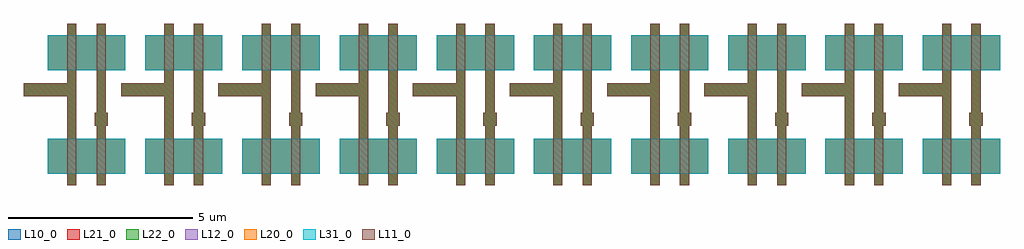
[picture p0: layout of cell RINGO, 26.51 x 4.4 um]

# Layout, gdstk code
import gdstk
lib = gdstk.Library(unit=1e-6, precision=1e-09)
def R(c, l, rs):  # rectangles x0, y0, x1, y1
    for r in rs: c.add(gdstk.rectangle(r[:2], r[2:], *l))
def A(c, l, x, y, w, h, nx, ny, dx, dy):  # array of equal rectangles
    R(c, l, [(x+i*dx, y+j*dy, x+i*dx+w, y+j*dy+h) for i in range(nx) for j in range(ny)])
L10_0 = (10, 0)
L11_0 = (11, 0)
L12_0 = (12, 0)
L20_0 = (20, 0)
L21_0 = (21, 0)
L22_0 = (22, 0)
L31_0 = (31, 0)

ringo = lib.new_cell('RINGO')
A(ringo, L10_0, 0.22, 0.82, 0.36, 0.36, 10, 1, 2.64, 0)
A(ringo, L10_0, -1.7, 1.62, 1.3, 0.36, 10, 1, 2.64, 0)
R(ringo, L10_0, [(-0.525,-0.8,-0.275,0.8), (0.275,-0.8,0.525,0.8), (2.115,-0.8,2.365,0.8), (2.915,-0.8,3.165,0.8), (4.755,-0.8,5.005,0.8), (5.555,-0.8,5.805,0.8), (7.395,-0.8,7.645,0.8), (8.195,-0.8,8.445,0.8), (10.035,-0.8,10.285,0.8), (10.835,-0.8,11.085,0.8), (12.675,-0.8,12.925,0.8), (13.475,-0.8,13.725,0.8), (15.315,-0.8,15.565,0.8), (16.115,-0.8,16.365,0.8), (17.955,-0.8,18.205,0.8), (18.755,-0.8,19.005,0.8), (20.595,-0.8,20.845,0.8), (21.395,-0.8,21.645,0.8), (23.235,-0.8,23.485,0.8), (24.035,-0.8,24.285,0.8), (-1.05,-0.475,0.25,0.475), (-0.25,-0.475,1.05,0.475), (1.59,-0.475,2.89,0.475), (2.39,-0.475,3.69,0.475), (4.23,-0.475,5.53,0.475), (5.03,-0.475,6.33,0.475), (6.87,-0.475,8.17,0.475), (7.67,-0.475,8.97,0.475), (9.51,-0.475,10.81,0.475), (10.31,-0.475,11.61,0.475), (12.15,-0.475,13.45,0.475), (12.95,-0.475,14.25,0.475), (14.79,-0.475,16.09,0.475), (15.59,-0.475,16.89,0.475), (17.43,-0.475,18.73,0.475), (18.23,-0.475,19.53,0.475), (20.07,-0.475,21.37,0.475), (20.87,-0.475,22.17,0.475), (22.71,-0.475,24.01,0.475), (23.51,-0.475,24.81,0.475), (-0.525,-0.25,-0.275,2.25), (0.275,-0.25,0.525,2.25), (2.115,-0.25,2.365,2.25), (2.915,-0.25,3.165,2.25), (4.755,-0.25,5.005,2.25), (5.555,-0.25,5.805,2.25), (7.395,-0.25,7.645,2.25), (8.195,-0.25,8.445,2.25), (10.035,-0.25,10.285,2.25), (10.835,-0.25,11.085,2.25), (12.675,-0.25,12.925,2.25), (13.475,-0.25,13.725,2.25), (15.315,-0.25,15.565,2.25), (16.115,-0.25,16.365,2.25), (17.955,-0.25,18.205,2.25), (18.755,-0.25,19.005,2.25), (20.595,-0.25,20.845,2.25), (21.395,-0.25,21.645,2.25), (23.235,-0.25,23.485,2.25), (24.035,-0.25,24.285,2.25), (-0.525,2,-0.275,3.6), (0.275,2,0.525,3.6), (2.115,2,2.365,3.6), (2.915,2,3.165,3.6), (4.755,2,5.005,3.6), (5.555,2,5.805,3.6), (7.395,2,7.645,3.6), (8.195,2,8.445,3.6), (10.035,2,10.285,3.6), (10.835,2,11.085,3.6), (12.675,2,12.925,3.6), (13.475,2,13.725,3.6), (15.315,2,15.565,3.6), (16.115,2,16.365,3.6), (17.955,2,18.205,3.6), (18.755,2,19.005,3.6), (20.595,2,20.845,3.6), (21.395,2,21.645,3.6), (23.235,2,23.485,3.6), (24.035,2,24.285,3.6), (-1.05,2.325,0.25,3.275), (-0.25,2.325,1.05,3.275), (1.59,2.325,2.89,3.275), (2.39,2.325,3.69,3.275), (4.23,2.325,5.53,3.275), (5.03,2.325,6.33,3.275), (6.87,2.325,8.17,3.275), (7.67,2.325,8.97,3.275), (9.51,2.325,10.81,3.275), (10.31,2.325,11.61,3.275), (12.15,2.325,13.45,3.275), (12.95,2.325,14.25,3.275), (14.79,2.325,16.09,3.275), (15.59,2.325,16.89,3.275), (17.43,2.325,18.73,3.275), (18.23,2.325,19.53,3.275), (20.07,2.325,21.37,3.275), (20.87,2.325,22.17,3.275), (22.71,2.325,24.01,3.275), (23.51,2.325,24.81,3.275)])
A(ringo, L11_0, 0.22, 0.82, 0.36, 0.36, 10, 1, 2.64, 0)
A(ringo, L11_0, -1.7, 1.62, 1.3, 0.36, 10, 1, 2.64, 0)
R(ringo, L11_0, [(-0.525,-0.8,-0.275,0.8), (0.275,-0.8,0.525,0.8), (2.115,-0.8,2.365,0.8), (2.915,-0.8,3.165,0.8), (4.755,-0.8,5.005,0.8), (5.555,-0.8,5.805,0.8), (7.395,-0.8,7.645,0.8), (8.195,-0.8,8.445,0.8), (10.035,-0.8,10.285,0.8), (10.835,-0.8,11.085,0.8), (12.675,-0.8,12.925,0.8), (13.475,-0.8,13.725,0.8), (15.315,-0.8,15.565,0.8), (16.115,-0.8,16.365,0.8), (17.955,-0.8,18.205,0.8), (18.755,-0.8,19.005,0.8), (20.595,-0.8,20.845,0.8), (21.395,-0.8,21.645,0.8), (23.235,-0.8,23.485,0.8), (24.035,-0.8,24.285,0.8), (-0.525,-0.25,-0.275,2.25), (0.275,-0.25,0.525,2.25), (2.115,-0.25,2.365,2.25), (2.915,-0.25,3.165,2.25), (4.755,-0.25,5.005,2.25), (5.555,-0.25,5.805,2.25), (7.395,-0.25,7.645,2.25), (8.195,-0.25,8.445,2.25), (10.035,-0.25,10.285,2.25), (10.835,-0.25,11.085,2.25), (12.675,-0.25,12.925,2.25), (13.475,-0.25,13.725,2.25), (15.315,-0.25,15.565,2.25), (16.115,-0.25,16.365,2.25), (17.955,-0.25,18.205,2.25), (18.755,-0.25,19.005,2.25), (20.595,-0.25,20.845,2.25), (21.395,-0.25,21.645,2.25), (23.235,-0.25,23.485,2.25), (24.035,-0.25,24.285,2.25), (-0.525,2,-0.275,3.6), (0.275,2,0.525,3.6), (2.115,2,2.365,3.6), (2.915,2,3.165,3.6), (4.755,2,5.005,3.6), (5.555,2,5.805,3.6), (7.395,2,7.645,3.6), (8.195,2,8.445,3.6), (10.035,2,10.285,3.6), (10.835,2,11.085,3.6), (12.675,2,12.925,3.6), (13.475,2,13.725,3.6), (15.315,2,15.565,3.6), (16.115,2,16.365,3.6), (17.955,2,18.205,3.6), (18.755,2,19.005,3.6), (20.595,2,20.845,3.6), (21.395,2,21.645,3.6), (23.235,2,23.485,3.6), (24.035,2,24.285,3.6)])
R(ringo, L12_0, [(-1.05,-0.475,0.25,0.475), (-0.25,-0.475,1.05,0.475), (1.59,-0.475,2.89,0.475), (2.39,-0.475,3.69,0.475), (4.23,-0.475,5.53,0.475), (5.03,-0.475,6.33,0.475), (6.87,-0.475,8.17,0.475), (7.67,-0.475,8.97,0.475), (9.51,-0.475,10.81,0.475), (10.31,-0.475,11.61,0.475), (12.15,-0.475,13.45,0.475), (12.95,-0.475,14.25,0.475), (14.79,-0.475,16.09,0.475), (15.59,-0.475,16.89,0.475), (17.43,-0.475,18.73,0.475), (18.23,-0.475,19.53,0.475), (20.07,-0.475,21.37,0.475), (20.87,-0.475,22.17,0.475), (22.71,-0.475,24.01,0.475), (23.51,-0.475,24.81,0.475), (-1.05,2.325,0.25,3.275), (-0.25,2.325,1.05,3.275), (1.59,2.325,2.89,3.275), (2.39,2.325,3.69,3.275), (4.23,2.325,5.53,3.275), (5.03,2.325,6.33,3.275), (6.87,2.325,8.17,3.275), (7.67,2.325,8.97,3.275), (9.51,2.325,10.81,3.275), (10.31,2.325,11.61,3.275), (12.15,2.325,13.45,3.275), (12.95,2.325,14.25,3.275), (14.79,2.325,16.09,3.275), (15.59,2.325,16.89,3.275), (17.43,2.325,18.73,3.275), (18.23,2.325,19.53,3.275), (20.07,2.325,21.37,3.275), (20.87,2.325,22.17,3.275), (22.71,2.325,24.01,3.275), (23.51,2.325,24.81,3.275)])
R(ringo, L20_0, [(-1.05,-0.475,0.25,0.475), (-0.25,-0.475,1.05,0.475), (1.59,-0.475,2.89,0.475), (2.39,-0.475,3.69,0.475), (4.23,-0.475,5.53,0.475), (5.03,-0.475,6.33,0.475), (6.87,-0.475,8.17,0.475), (7.67,-0.475,8.97,0.475), (9.51,-0.475,10.81,0.475), (10.31,-0.475,11.61,0.475), (12.15,-0.475,13.45,0.475), (12.95,-0.475,14.25,0.475), (14.79,-0.475,16.09,0.475), (15.59,-0.475,16.89,0.475), (17.43,-0.475,18.73,0.475), (18.23,-0.475,19.53,0.475), (20.07,-0.475,21.37,0.475), (20.87,-0.475,22.17,0.475), (22.71,-0.475,24.01,0.475), (23.51,-0.475,24.81,0.475), (-1.05,2.325,0.25,3.275), (-0.25,2.325,1.05,3.275), (1.59,2.325,2.89,3.275), (2.39,2.325,3.69,3.275), (4.23,2.325,5.53,3.275), (5.03,2.325,6.33,3.275), (6.87,2.325,8.17,3.275), (7.67,2.325,8.97,3.275), (9.51,2.325,10.81,3.275), (10.31,2.325,11.61,3.275), (12.15,2.325,13.45,3.275), (12.95,2.325,14.25,3.275), (14.79,2.325,16.09,3.275), (15.59,2.325,16.89,3.275), (17.43,2.325,18.73,3.275), (18.23,2.325,19.53,3.275), (20.07,2.325,21.37,3.275), (20.87,2.325,22.17,3.275), (22.71,2.325,24.01,3.275), (23.51,2.325,24.81,3.275)])
A(ringo, L21_0, 0.22, 0.82, 0.36, 0.36, 10, 1, 2.64, 0)
A(ringo, L21_0, -1.7, 1.62, 1.3, 0.36, 10, 1, 2.64, 0)
R(ringo, L21_0, [(-0.525,-0.8,-0.275,0.8), (0.275,-0.8,0.525,0.8), (2.115,-0.8,2.365,0.8), (2.915,-0.8,3.165,0.8), (4.755,-0.8,5.005,0.8), (5.555,-0.8,5.805,0.8), (7.395,-0.8,7.645,0.8), (8.195,-0.8,8.445,0.8), (10.035,-0.8,10.285,0.8), (10.835,-0.8,11.085,0.8), (12.675,-0.8,12.925,0.8), (13.475,-0.8,13.725,0.8), (15.315,-0.8,15.565,0.8), (16.115,-0.8,16.365,0.8), (17.955,-0.8,18.205,0.8), (18.755,-0.8,19.005,0.8), (20.595,-0.8,20.845,0.8), (21.395,-0.8,21.645,0.8), (23.235,-0.8,23.485,0.8), (24.035,-0.8,24.285,0.8), (-1.05,-0.475,0.25,0.475), (-0.25,-0.475,1.05,0.475), (1.59,-0.475,2.89,0.475), (2.39,-0.475,3.69,0.475), (4.23,-0.475,5.53,0.475), (5.03,-0.475,6.33,0.475), (6.87,-0.475,8.17,0.475), (7.67,-0.475,8.97,0.475), (9.51,-0.475,10.81,0.475), (10.31,-0.475,11.61,0.475), (12.15,-0.475,13.45,0.475), (12.95,-0.475,14.25,0.475), (14.79,-0.475,16.09,0.475), (15.59,-0.475,16.89,0.475), (17.43,-0.475,18.73,0.475), (18.23,-0.475,19.53,0.475), (20.07,-0.475,21.37,0.475), (20.87,-0.475,22.17,0.475), (22.71,-0.475,24.01,0.475), (23.51,-0.475,24.81,0.475), (-0.525,-0.25,-0.275,2.25), (0.275,-0.25,0.525,2.25), (2.115,-0.25,2.365,2.25), (2.915,-0.25,3.165,2.25), (4.755,-0.25,5.005,2.25), (5.555,-0.25,5.805,2.25), (7.395,-0.25,7.645,2.25), (8.195,-0.25,8.445,2.25), (10.035,-0.25,10.285,2.25), (10.835,-0.25,11.085,2.25), (12.675,-0.25,12.925,2.25), (13.475,-0.25,13.725,2.25), (15.315,-0.25,15.565,2.25), (16.115,-0.25,16.365,2.25), (17.955,-0.25,18.205,2.25), (18.755,-0.25,19.005,2.25), (20.595,-0.25,20.845,2.25), (21.395,-0.25,21.645,2.25), (23.235,-0.25,23.485,2.25), (24.035,-0.25,24.285,2.25), (-0.525,2,-0.275,3.6), (0.275,2,0.525,3.6), (2.115,2,2.365,3.6), (2.915,2,3.165,3.6), (4.755,2,5.005,3.6), (5.555,2,5.805,3.6), (7.395,2,7.645,3.6), (8.195,2,8.445,3.6), (10.035,2,10.285,3.6), (10.835,2,11.085,3.6), (12.675,2,12.925,3.6), (13.475,2,13.725,3.6), (15.315,2,15.565,3.6), (16.115,2,16.365,3.6), (17.955,2,18.205,3.6), (18.755,2,19.005,3.6), (20.595,2,20.845,3.6), (21.395,2,21.645,3.6), (23.235,2,23.485,3.6), (24.035,2,24.285,3.6), (-1.05,2.325,0.25,3.275), (-0.25,2.325,1.05,3.275), (1.59,2.325,2.89,3.275), (2.39,2.325,3.69,3.275), (4.23,2.325,5.53,3.275), (5.03,2.325,6.33,3.275), (6.87,2.325,8.17,3.275), (7.67,2.325,8.97,3.275), (9.51,2.325,10.81,3.275), (10.31,2.325,11.61,3.275), (12.15,2.325,13.45,3.275), (12.95,2.325,14.25,3.275), (14.79,2.325,16.09,3.275), (15.59,2.325,16.89,3.275), (17.43,2.325,18.73,3.275), (18.23,2.325,19.53,3.275), (20.07,2.325,21.37,3.275), (20.87,2.325,22.17,3.275), (22.71,2.325,24.01,3.275), (23.51,2.325,24.81,3.275)])
A(ringo, L22_0, 0.22, 0.82, 0.36, 0.36, 10, 1, 2.64, 0)
A(ringo, L22_0, -1.7, 1.62, 1.3, 0.36, 10, 1, 2.64, 0)
R(ringo, L22_0, [(-0.525,-0.8,-0.275,0.8), (0.275,-0.8,0.525,0.8), (2.115,-0.8,2.365,0.8), (2.915,-0.8,3.165,0.8), (4.755,-0.8,5.005,0.8), (5.555,-0.8,5.805,0.8), (7.395,-0.8,7.645,0.8), (8.195,-0.8,8.445,0.8), (10.035,-0.8,10.285,0.8), (10.835,-0.8,11.085,0.8), (12.675,-0.8,12.925,0.8), (13.475,-0.8,13.725,0.8), (15.315,-0.8,15.565,0.8), (16.115,-0.8,16.365,0.8), (17.955,-0.8,18.205,0.8), (18.755,-0.8,19.005,0.8), (20.595,-0.8,20.845,0.8), (21.395,-0.8,21.645,0.8), (23.235,-0.8,23.485,0.8), (24.035,-0.8,24.285,0.8), (-1.05,-0.475,0.25,0.475), (-0.25,-0.475,1.05,0.475), (1.59,-0.475,2.89,0.475), (2.39,-0.475,3.69,0.475), (4.23,-0.475,5.53,0.475), (5.03,-0.475,6.33,0.475), (6.87,-0.475,8.17,0.475), (7.67,-0.475,8.97,0.475), (9.51,-0.475,10.81,0.475), (10.31,-0.475,11.61,0.475), (12.15,-0.475,13.45,0.475), (12.95,-0.475,14.25,0.475), (14.79,-0.475,16.09,0.475), (15.59,-0.475,16.89,0.475), (17.43,-0.475,18.73,0.475), (18.23,-0.475,19.53,0.475), (20.07,-0.475,21.37,0.475), (20.87,-0.475,22.17,0.475), (22.71,-0.475,24.01,0.475), (23.51,-0.475,24.81,0.475), (-0.525,-0.25,-0.275,2.25), (0.275,-0.25,0.525,2.25), (2.115,-0.25,2.365,2.25), (2.915,-0.25,3.165,2.25), (4.755,-0.25,5.005,2.25), (5.555,-0.25,5.805,2.25), (7.395,-0.25,7.645,2.25), (8.195,-0.25,8.445,2.25), (10.035,-0.25,10.285,2.25), (10.835,-0.25,11.085,2.25), (12.675,-0.25,12.925,2.25), (13.475,-0.25,13.725,2.25), (15.315,-0.25,15.565,2.25), (16.115,-0.25,16.365,2.25), (17.955,-0.25,18.205,2.25), (18.755,-0.25,19.005,2.25), (20.595,-0.25,20.845,2.25), (21.395,-0.25,21.645,2.25), (23.235,-0.25,23.485,2.25), (24.035,-0.25,24.285,2.25), (-0.525,2,-0.275,3.6), (0.275,2,0.525,3.6), (2.115,2,2.365,3.6), (2.915,2,3.165,3.6), (4.755,2,5.005,3.6), (5.555,2,5.805,3.6), (7.395,2,7.645,3.6), (8.195,2,8.445,3.6), (10.035,2,10.285,3.6), (10.835,2,11.085,3.6), (12.675,2,12.925,3.6), (13.475,2,13.725,3.6), (15.315,2,15.565,3.6), (16.115,2,16.365,3.6), (17.955,2,18.205,3.6), (18.755,2,19.005,3.6), (20.595,2,20.845,3.6), (21.395,2,21.645,3.6), (23.235,2,23.485,3.6), (24.035,2,24.285,3.6), (-1.05,2.325,0.25,3.275), (-0.25,2.325,1.05,3.275), (1.59,2.325,2.89,3.275), (2.39,2.325,3.69,3.275), (4.23,2.325,5.53,3.275), (5.03,2.325,6.33,3.275), (6.87,2.325,8.17,3.275), (7.67,2.325,8.97,3.275), (9.51,2.325,10.81,3.275), (10.31,2.325,11.61,3.275), (12.15,2.325,13.45,3.275), (12.95,2.325,14.25,3.275), (14.79,2.325,16.09,3.275), (15.59,2.325,16.89,3.275), (17.43,2.325,18.73,3.275), (18.23,2.325,19.53,3.275), (20.07,2.325,21.37,3.275), (20.87,2.325,22.17,3.275), (22.71,2.325,24.01,3.275), (23.51,2.325,24.81,3.275)])
R(ringo, L31_0, [(-1.05,-0.475,0.25,0.475), (-0.25,-0.475,1.05,0.475), (1.59,-0.475,2.89,0.475), (2.39,-0.475,3.69,0.475), (4.23,-0.475,5.53,0.475), (5.03,-0.475,6.33,0.475), (6.87,-0.475,8.17,0.475), (7.67,-0.475,8.97,0.475), (9.51,-0.475,10.81,0.475), (10.31,-0.475,11.61,0.475), (12.15,-0.475,13.45,0.475), (12.95,-0.475,14.25,0.475), (14.79,-0.475,16.09,0.475), (15.59,-0.475,16.89,0.475), (17.43,-0.475,18.73,0.475), (18.23,-0.475,19.53,0.475), (20.07,-0.475,21.37,0.475), (20.87,-0.475,22.17,0.475), (22.71,-0.475,24.01,0.475), (23.51,-0.475,24.81,0.475), (-1.05,2.325,0.25,3.275), (-0.25,2.325,1.05,3.275), (1.59,2.325,2.89,3.275), (2.39,2.325,3.69,3.275), (4.23,2.325,5.53,3.275), (5.03,2.325,6.33,3.275), (6.87,2.325,8.17,3.275), (7.67,2.325,8.97,3.275), (9.51,2.325,10.81,3.275), (10.31,2.325,11.61,3.275), (12.15,2.325,13.45,3.275), (12.95,2.325,14.25,3.275), (14.79,2.325,16.09,3.275), (15.59,2.325,16.89,3.275), (17.43,2.325,18.73,3.275), (18.23,2.325,19.53,3.275), (20.07,2.325,21.37,3.275), (20.87,2.325,22.17,3.275), (22.71,2.325,24.01,3.275), (23.51,2.325,24.81,3.275)])

lib.write_gds('RINGO.gds')
